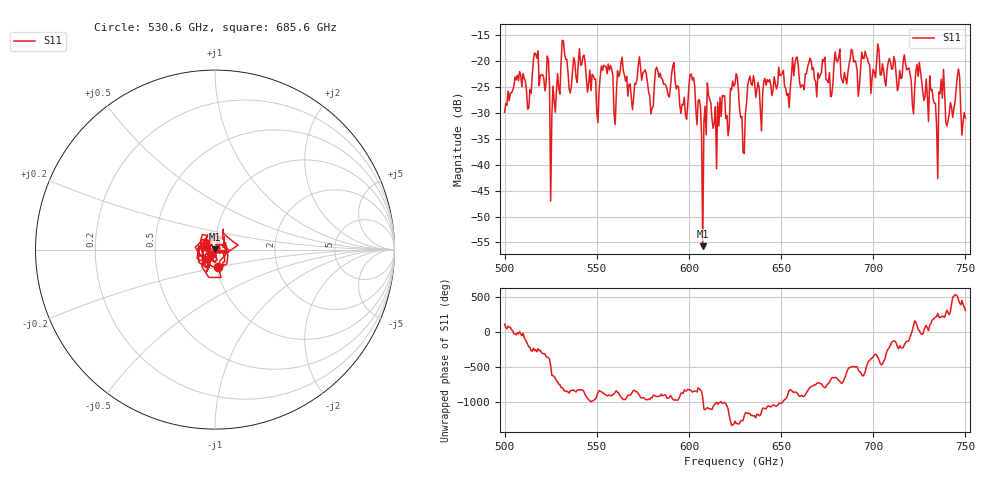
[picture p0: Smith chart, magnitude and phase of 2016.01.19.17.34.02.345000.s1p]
!Created with skrf (http://scikit-rf.org).
# GHz S RI R 50.0
!freq ReS11 ImS11
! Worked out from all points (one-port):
!   401 points, 500 GHz to 750 GHz, reference 50 ohm
!   lowest |S11| = -55.7 dB at 607.5 GHz (marker M1), VSWR 1.00, Z = 49.9 + j0.106 ohm
!   |S11| at or under -10 dB: start of sweep to end of sweep
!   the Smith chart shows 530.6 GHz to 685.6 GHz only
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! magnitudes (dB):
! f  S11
! 500 GHz  -29.8
! 506.9 GHz  -22.7
! 513.1 GHz  -29.0
! 516.9 GHz  -18.6
! 523.1 GHz  -19.0
! 526.2 GHz  -24.8
! 531.2 GHz  -16.0
! 550 GHz  -29.8
! 562.5 GHz  -22.4
! 579.4 GHz  -30.2
! 593.8 GHz  -24.8
! 598.1 GHz  -30.4
! 601.9 GHz  -23.6
! 607.5 GHz  -55.7
! 610 GHz  -24.2
! 613.8 GHz  -31.9
! 625 GHz  -24.4
! 629.4 GHz  -37.6
! 633.8 GHz  -24.4
! 656.2 GHz  -19.3
! 687.5 GHz  -19.4
! 718.8 GHz  -21.5
! 731.9 GHz  -25.4
! 733.8 GHz  -28.1
! 736.9 GHz  -23.5
! 740.6 GHz  -31.4
! 745.6 GHz  -22.9
! 750 GHz  -31.0
